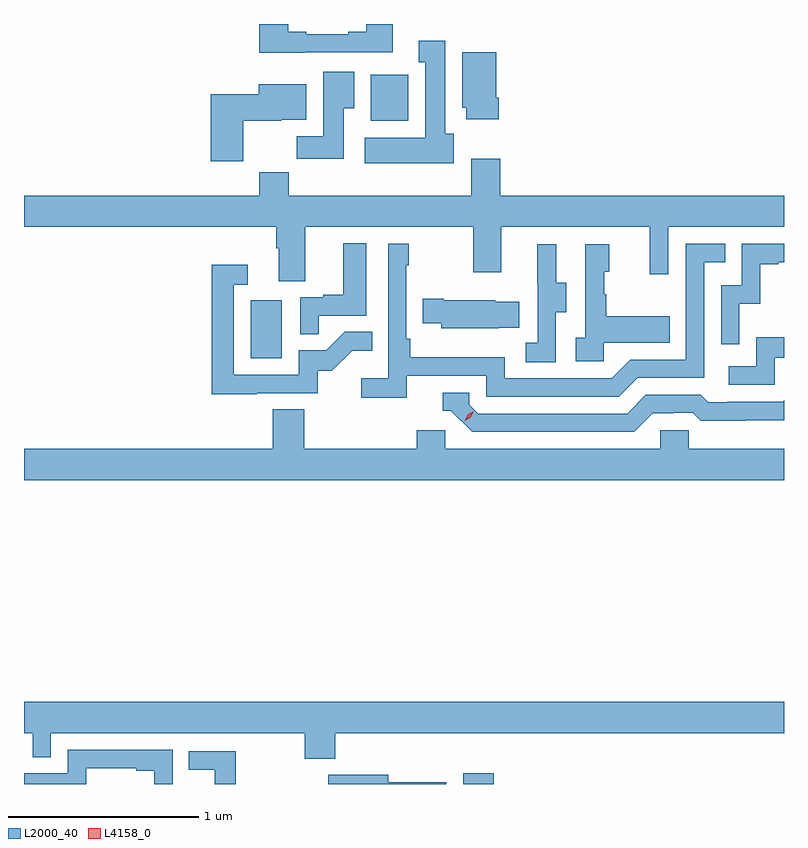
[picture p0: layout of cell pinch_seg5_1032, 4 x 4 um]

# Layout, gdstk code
import gdstk
lib = gdstk.Library(unit=1e-6, precision=1e-09)
def R(c, l, rs):  # rectangles x0, y0, x1, y1
    for r in rs: c.add(gdstk.rectangle(r[:2], r[2:], *l))
def P(c, l, *ps):  # polygons
    for p in ps: c.add(gdstk.Polygon(p, *l))
L2000_40 = (2000, 40)
L4158_0 = (4158, 0)

pinch_seg5_1032 = lib.new_cell('pinch_seg5_1032')
R(pinch_seg5_1032, L2000_40, [(853.529,861.82,853.69,861.877), (852.41,864.06,852.574,864.367), (853.043,865.31,853.24,865.552)])
P(pinch_seg5_1032, L2000_40, [(852.695,865.671),(853.159,865.671),(853.159,865.82),(853.019,865.82),(853.019,865.78),(852.923,865.78),(852.923,865.767),(852.703,865.767),(852.703,865.78),(852.607,865.78),(852.607,865.82),(852.455,865.82),(852.455,865.67),(852.695,865.67)],
  [(853.48,865.242),(853.435,865.242),(853.435,865.732),(853.295,865.732),(853.295,865.619),(853.328,865.619),(853.328,865.222),(853.011,865.222),(853.011,865.088),(853.48,865.088)],
  [(853.715,865.432),(853.702,865.432),(853.702,865.672),(853.523,865.672),(853.523,865.38),(853.544,865.38),(853.544,865.32),(853.715,865.32)],
  [(852.901,865.376),(852.955,865.376),(852.955,865.57),(852.791,865.57),(852.791,865.228),(852.652,865.228),(852.652,865.11),(852.901,865.11)],
  [(852.37,865.31),(852.57,865.31),(852.57,865.316),(852.703,865.316),(852.703,865.504),(852.452,865.504),(852.452,865.45),(852.2,865.45),(852.2,865.098),(852.37,865.098)],
  [(852.697,864.752),(853.582,864.752),(853.582,864.513),(853.729,864.513),(853.729,864.752),(854.51,864.752),(854.51,864.504),(854.607,864.504),(854.607,864.752),(855.217,864.752),(855.217,864.916),(853.724,864.916),(853.724,865.111),(853.571,865.111),(853.571,864.916),(852.611,864.916),(852.611,865.04),(852.455,865.04),(852.455,864.916),(851.217,864.916),(851.217,864.752),(852.545,864.752),(852.545,864.64),(852.557,864.64),(852.557,864.466),(852.697,864.466)],
  [(852.767,864.285),(853.018,864.285),(853.018,864.667),(852.896,864.667),(852.896,864.394),(852.793,864.394),(852.793,864.381),(852.672,864.381),(852.672,864.187),(852.767,864.187)],
  [(853.232,863.97),(853.65,863.97),(853.65,863.859),(854.347,863.859),(854.446,863.958),(854.796,863.958),(854.796,864.567),(854.909,864.567),(854.909,864.663),(854.7,864.663),(854.7,864.054),(854.409,864.054),(854.31,863.955),(853.746,863.955),(853.746,864.067),(853.25,864.067),(853.25,864.163),(853.23,864.163),(853.23,864.551),(853.243,864.551),(853.243,864.664),(853.134,864.664),(853.134,863.956),(852.993,863.956),(852.993,863.854),(853.232,863.854)],
  [(854.982,864.347),(855.092,864.347),(855.092,864.555),(855.187,864.555),(855.187,864.567),(855.217,864.567),(855.217,864.663),(854.994,864.663),(854.994,864.444),(854.886,864.444),(854.886,864.135),(854.982,864.135)],
  [(854.268,864.143),(854.615,864.143),(854.615,864.283),(854.281,864.283),(854.281,864.398),(854.271,864.398),(854.271,864.516),(854.296,864.516),(854.296,864.661),(854.172,864.661),(854.172,864.17),(854.121,864.17),(854.121,864.045),(854.268,864.045)],
  [(854.016,864.304),(854.071,864.304),(854.071,864.459),(854.017,864.459),(854.017,864.661),(853.919,864.661),(853.919,864.447),(853.92,864.447),(853.92,864.143),(853.857,864.143),(853.857,864.04),(854.016,864.04)],
  [(852.443,863.877),(852.762,863.877),(852.762,863.994),(852.838,863.994),(852.945,864.101),(853.049,864.101),(853.049,864.2),(852.906,864.2),(852.808,864.102),(852.663,864.102),(852.663,863.973),(852.321,863.973),(852.321,864.447),(852.394,864.447),(852.394,864.553),(852.205,864.553),(852.205,863.872),(852.443,863.872)],
  [(853.715,864.221),(853.823,864.221),(853.823,864.358),(853.698,864.358),(853.698,864.367),(853.426,864.367),(853.426,864.375),(853.315,864.375),(853.315,864.245),(853.413,864.245),(853.413,864.218),(853.715,864.218)],
  [(855.168,864.063),(855.217,864.063),(855.217,864.172),(855.072,864.172),(855.072,864.018),(854.925,864.018),(854.925,863.922),(855.168,863.922)],
  [(854.527,863.772),(854.634,863.772),(854.634,863.775),(854.737,863.775),(854.779,863.733),(855.012,863.733),(855.012,863.735),(855.217,863.735),(855.217,863.839),(855.21,863.832),(854.917,863.832),(854.917,863.829),(854.818,863.829),(854.779,863.868),(854.49,863.868),(854.391,863.769),(853.608,863.769),(853.56,863.817),(853.56,863.88),(853.421,863.88),(853.421,863.784),(853.464,863.784),(853.575,863.673),(854.428,863.673)],
  [(855.217,863.584),(854.715,863.584),(854.715,863.682),(854.565,863.682),(854.565,863.584),(853.434,863.584),(853.434,863.682),(853.283,863.682),(853.283,863.584),(852.692,863.584),(852.692,863.792),(852.527,863.792),(852.527,863.584),(851.217,863.584),(851.217,863.42),(855.217,863.42)],
  [(852.854,862.088),(855.217,862.088),(855.217,862.252),(851.217,862.252),(851.217,862.088),(851.262,862.088),(851.262,861.961),(851.358,861.961),(851.358,862.088),(852.694,862.088),(852.694,861.953),(852.854,861.953)],
  [(851.544,861.903),(851.807,861.903),(851.807,861.891),(851.903,861.891),(851.903,861.82),(852,861.82),(852,861.999),(851.448,861.999),(851.448,861.876),(851.217,861.876),(851.217,861.82),(851.544,861.82)],
  [(852.331,861.993),(852.085,861.993),(852.085,861.896),(852.22,861.896),(852.22,861.82),(852.331,861.82)],
  [(853.44,861.83),(853.135,861.83),(853.135,861.868),(852.817,861.868),(852.817,861.82),(853.44,861.82)])
P(pinch_seg5_1032, L4158_0, [(853.536,863.731),(853.536,863.732),(853.553,863.764),(853.583,863.783),(853.584,863.783),(853.584,863.783),(853.567,863.75),(853.537,863.731)])

lib.write_gds('pinch_seg5_1032.gds')
